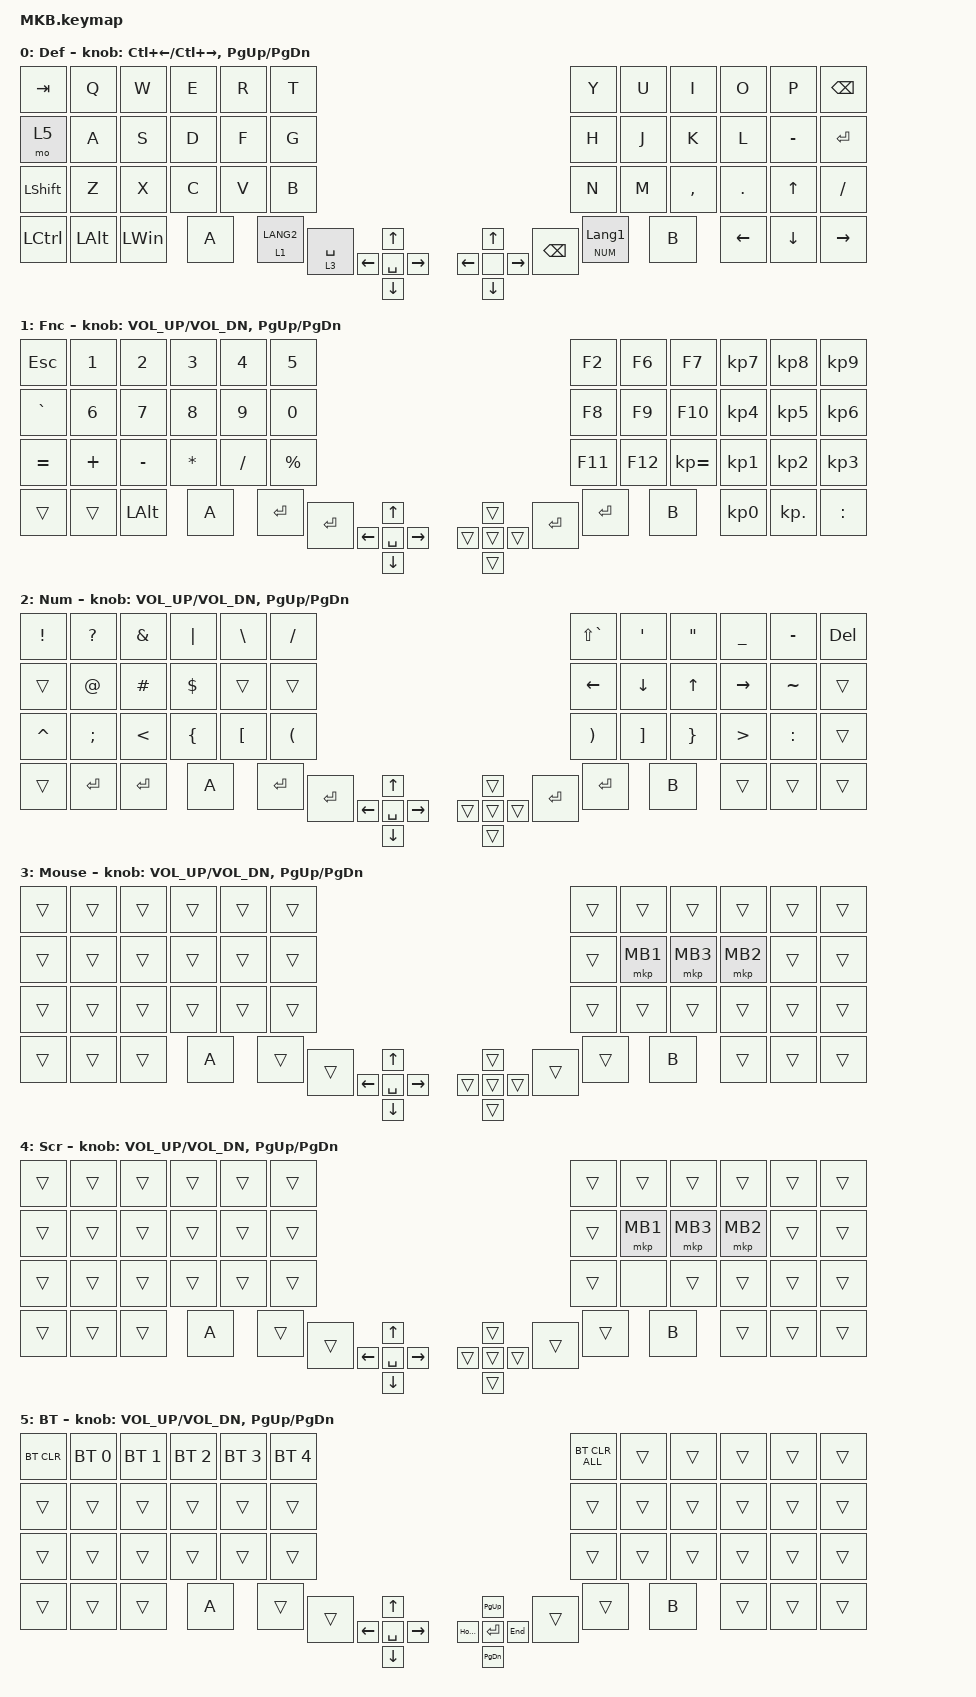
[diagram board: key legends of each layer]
// #include <layout_shift.dtsi>

#include <layout_shift_kp_override.dtsi>
#include <behaviors.dtsi>
#include <dt-bindings/zmk/bt.h>
#include <dt-bindings/zmk/keys.h>
#include <dt-bindings/zmk/pointing.h>

#define DEF 0
#define FUNC 1
#define NUM 2
#define MOUSE 3
#define SCROLL 4
#define BT 5

&mt {
    flavor = "balanced";
    tapping-term-ms = <280>;
    quick-tap-ms = <175>;
    require-prior-idle-ms = <150>;
};

/ {
    macros {
        tow: tow {
            compatible = "zmk,behavior-macro";
            #binding-cells = <0>;
            bindings = <&none>;
            label = "TOW";
        };
    };

    keymap {
        compatible = "zmk,keymap";

        default_layer {
            label = "Def";
            bindings = <
&kp TAB         &kp Q         &kp W         &kp E           &kp R            &kp T            &kp Y          &kp U               &kp I         &kp O     &kp P           &kp BACKSPACE
&mo 5           &kp A         &kp S         &kp D           &kp F            &kp G            &kp H          &kp J               &kp K         &kp L     &kp MINUS       &kp ENTER
&kp LSHFT       &kp Z         &kp X         &kp C           &kp V            &kp B            &kp N          &kp M               &kp COMMA     &kp DOT   &kp UP          &kp FSLH
&kp LCTRL       &kp LEFT_ALT  &kp LEFT_WIN                  &lt 1 LANG2      &lt 3 SPACE      &kp BACKSPACE  &lt NUM LANGUAGE_1                &kp LEFT  &kp DOWN        &kp RIGHT
&kp LEFT_ARROW  &kp UP_ARROW  &kp SPACE     &kp DOWN_ARROW  &kp RIGHT_ARROW                                  &kp LEFT_ARROW      &kp UP_ARROW  &none     &kp DOWN_ARROW  &kp RIGHT_ARROW
                                            &kp A                                                                                &kp B
            >;

            sensor-bindings =
                <&inc_dec_kp LC(LEFT_ARROW) LC(RIGHT_ARROW)>,
                <&inc_dec_kp PG_UP PG_DN>;
        };

        function_layer {
            label = "Fnc";
            bindings = <
&kp ESCAPE  &kp NUMBER_1  &kp NUMBER_2  &kp NUMBER_3  &kp NUMBER_4  &kp NUMBER_5      &kp F2     &kp F6     &kp F7        &kp KP_NUMBER_7  &kp KP_NUMBER_8  &kp KP_NUMBER_9
&kp GRAVE   &kp NUMBER_6  &kp NUMBER_7  &kp NUMBER_8  &kp N9        &kp N0            &kp F8     &kp F9     &kp F10       &kp KP_NUMBER_4  &kp KP_NUMBER_5  &kp KP_NUMBER_6
&kp EQUAL   &kp PLUS      &kp MINUS     &kp ASTERISK  &kp SLASH     &kp PERCENT       &kp F11    &kp F12    &kp KP_EQUAL  &kp KP_NUMBER_1  &kp KP_NUMBER_2  &kp KP_NUMBER_3
&trans      &trans        &kp LALT                    &kp ENTER     &kp ENTER         &kp ENTER  &kp ENTER                &kp KP_NUMBER_0  &kp KP_DOT       &kp COLON
&kp LEFT    &kp UP        &kp SPACE     &kp DOWN      &kp RIGHT                                  &trans     &trans        &trans           &trans           &trans
                                        &kp A                                                               &kp B
            >;

            sensor-bindings = <&inc_dec_kp C_VOL_UP C_VOL_DN &inc_dec_kp PG_UP PG_DN>;
        };

        num_layer {
            label = "Num";
            bindings = <
&kp EXCLAMATION  &kp QUESTION   &kp AMPERSAND  &kp PIPE        &kp BACKSLASH     &kp SLASH                 &kp LS(GRAVE)          &kp SQT            &kp DOUBLE_QUOTES  &kp UNDERSCORE    &kp MINUS  &kp DELETE
&trans           &kp AT_SIGN    &kp HASH       &kp DOLLAR      &trans            &trans                    &kp LEFT_ARROW         &kp DOWN_ARROW     &kp UP_ARROW       &kp RIGHT_ARROW   &kp TILDE  &trans
&kp CARET        &kp SEMICOLON  &kp LESS_THAN  &kp LEFT_BRACE  &kp LEFT_BRACKET  &kp LEFT_PARENTHESIS      &kp RIGHT_PARENTHESIS  &kp RIGHT_BRACKET  &kp RIGHT_BRACE    &kp GREATER_THAN  &kp COLON  &trans
&trans           &kp ENTER      &kp ENTER                      &kp ENTER         &kp ENTER                 &kp ENTER              &kp ENTER                             &trans            &trans     &trans
&kp LEFT         &kp UP         &kp SPACE      &kp DOWN        &kp RIGHT                                                          &trans             &trans             &trans            &trans     &trans
                                               &kp A                                                                                                 &kp B
            >;

            sensor-bindings = <&inc_dec_kp C_VOL_UP C_VOL_DN &inc_dec_kp PG_UP PG_DN>;
        };

        mouse_layer {
            label = "Mouse";
            bindings = <
&trans    &trans  &trans     &trans    &trans     &trans      &trans  &trans    &trans    &trans    &trans  &trans
&trans    &trans  &trans     &trans    &trans     &trans      &trans  &mkp MB1  &mkp MB3  &mkp MB2  &trans  &trans
&trans    &trans  &trans     &trans    &trans     &trans      &trans  &trans    &trans    &trans    &trans  &trans
&trans    &trans  &trans               &trans     &trans      &trans  &trans              &trans    &trans  &trans
&kp LEFT  &kp UP  &kp SPACE  &kp DOWN  &kp RIGHT                      &trans    &trans    &trans    &trans  &trans
                             &kp A                                              &kp B
            >;

            sensor-bindings = <&inc_dec_kp C_VOL_UP C_VOL_DN &inc_dec_kp PG_UP PG_DN>;
        };

        scroll_layer {
            label = "Scr";
            bindings = <
&trans    &trans  &trans     &trans    &trans     &trans      &trans  &trans    &trans    &trans    &trans  &trans
&trans    &trans  &trans     &trans    &trans     &trans      &trans  &mkp MB1  &mkp MB3  &mkp MB2  &trans  &trans
&trans    &trans  &trans     &trans    &trans     &trans      &trans  &none     &trans    &trans    &trans  &trans
&trans    &trans  &trans               &trans     &trans      &trans  &trans              &trans    &trans  &trans
&kp LEFT  &kp UP  &kp SPACE  &kp DOWN  &kp RIGHT                      &trans    &trans    &trans    &trans  &trans
                             &kp A                                              &kp B
            >;

            sensor-bindings = <&inc_dec_kp C_VOL_UP C_VOL_DN &inc_dec_kp PG_UP PG_DN>;
        };

        bt_layer {
            label = "BT";
            bindings = <
&bt BT_CLR  &bt BT_SEL 0  &bt BT_SEL 1  &bt BT_SEL 2  &bt BT_SEL 3  &bt BT_SEL 4      &bt BT_CLR_ALL  &trans    &trans     &trans     &trans     &trans
&trans      &trans        &trans        &trans        &trans        &trans            &trans          &trans    &trans     &trans     &trans     &trans
&trans      &trans        &trans        &trans        &trans        &trans            &trans          &trans    &trans     &trans     &trans     &trans
&trans      &trans        &trans                      &trans        &trans            &trans          &trans               &trans     &trans     &trans
&kp LEFT    &kp UP        &kp SPACE     &kp DOWN      &kp RIGHT                                       &kp HOME  &kp PG_UP  &kp ENTER  &kp PG_DN  &kp END
                                        &kp A                                                                   &kp B
            >;

            sensor-bindings = <&inc_dec_kp C_VOL_UP C_VOL_DN &inc_dec_kp PG_UP PG_DN>;
        };
    };
};
